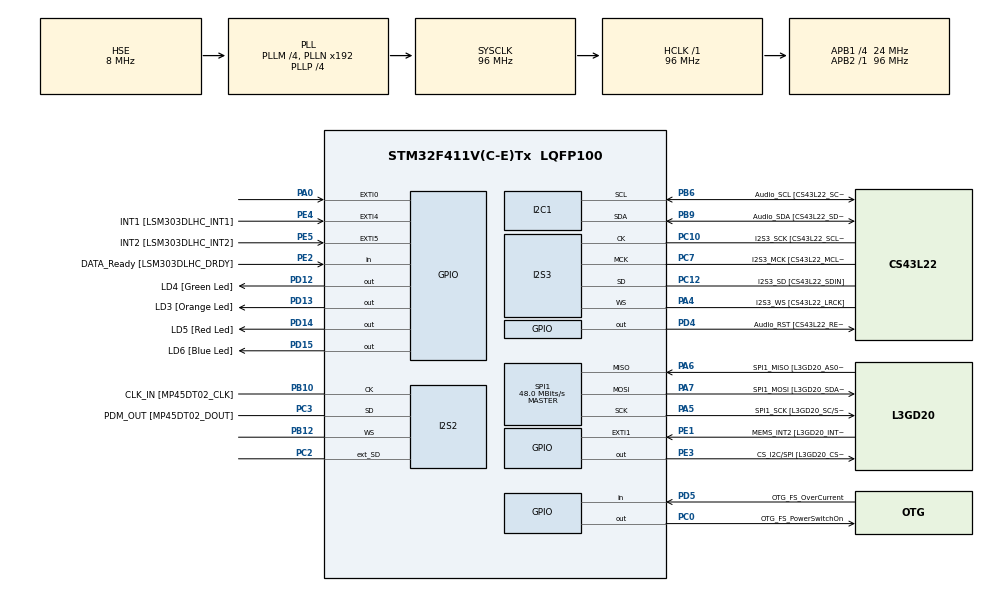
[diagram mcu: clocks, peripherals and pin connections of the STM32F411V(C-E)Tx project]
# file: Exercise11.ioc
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FREERTOS.BinarySemaphores01=CriticalResourceSemaphore,Dynamic,NULL
FREERTOS.Tasks01=GreenLEDTask,0,128,StartGreenLEDTask,Default,NULL,Dynamic,NULL,NULL;RedLEDTask,2,128,StartRedLEDTask,Default,NULL,Dynamic,NULL,NULL;OrangeLEDTask,1,128,StartOrangeLEDTask,Default,NULL,Dynamic,NULL,NULL
I2S2.AudioFreq=I2S_AUDIOFREQ_96K
I2S2.ErrorAudioFreq=0.15 %
I2S2.FullDuplexMode=I2S_FULLDUPLEXMODE_ENABLE
I2S2.Instance=SPI$Index
I2S2.RealAudioFreq=96.153 KHz
I2S2.VirtualMode=I2S_MODE_MASTER
I2S3.AudioFreq=I2S_AUDIOFREQ_96K
I2S3.ErrorAudioFreq=-6.99 %
I2S3.FullDuplexMode=I2S_FULLDUPLEXMODE_DISABLE
I2S3.Instance=SPI$Index
I2S3.RealAudioFreq=89.285 KHz
I2S3.VirtualMode=I2S_MODE_MASTER
Mcu.Family=STM32F4
Mcu.Name=STM32F411V(C-E)Tx
Mcu.Package=LQFP100
NVIC.PriorityGroup=NVIC_PRIORITYGROUP_4
NVIC.TIM1_UP_TIM10_IRQn=true\:0\:0\:false\:false\:true\:false\:false\:true
NVIC.TimeBase=TIM1_UP_TIM10_IRQn
NVIC.TimeBaseIP=TIM1
PA0-WKUP.GPIO_ModeDefaultEXTI=GPIO_MODE_EVT_RISING
PA0-WKUP.Signal=GPXTI0
PA10.GPIO_Label=OTG_FS_ID
PA10.Signal=USB_OTG_FS_ID
PA11.GPIO_Label=OTG_FS_DM
PA11.Signal=USB_OTG_FS_DM
PA12.GPIO_Label=OTG_FS_DP
PA12.Signal=USB_OTG_FS_DP
PA13.GPIO_Label=SWDIO
PA13.Mode=Serial_Wire
PA13.Signal=SYS_JTMS-SWDIO
PA14.GPIO_Label=SWCLK
PA14.Mode=Serial_Wire
PA14.Signal=SYS_JTCK-SWCLK
PA4.GPIO_Label=I2S3_WS [CS43L22_LRCK]
PA4.GPIO_Mode=GPIO_MODE_AF_PP
PA4.GPIO_PuPd=GPIO_NOPULL
PA4.GPIO_Speed=GPIO_SPEED_FREQ_LOW
PA4.Mode=Half_Duplex_Master
PA4.Signal=I2S3_WS
PA5.GPIO_Label=SPI1_SCK [L3GD20_SC/SPC]
PA5.Mode=Full_Duplex_Master
PA5.Signal=SPI1_SCK
PA6.GPIO_Label=SPI1_MISO [L3GD20_AS0/SDO]
PA6.Mode=Full_Duplex_Master
PA6.Signal=SPI1_MISO
PA7.GPIO_Label=SPI1_MOSI [L3GD20_SDA/SDI/SDO]
PA7.Mode=Full_Duplex_Master
PA7.Signal=SPI1_MOSI
PA9.GPIO_Label=VBUS_FS
PA9.Signal=USB_OTG_FS_VBUS
PB10.GPIO_Label=CLK_IN [MP45DT02_CLK]
PB10.Mode=Full_Duplex_Master
PB10.Signal=I2S2_CK
PB12.Mode=Full_Duplex_Master
PB12.Signal=I2S2_WS
PB3.GPIO_Label=SWO
PB3.Signal=SYS_JTDO-SWO
PB6.GPIO_Label=Audio_SCL [CS43L22_SCL]
PB6.GPIO_Mode=GPIO_MODE_AF_OD
PB6.GPIO_PuPd=GPIO_NOPULL
PB6.GPIO_Speed=GPIO_SPEED_FREQ_LOW
PB6.Mode=I2C
PB6.Signal=I2C1_SCL
PB9.GPIO_Label=Audio_SDA [CS43L22_SDA]
PB9.GPIO_Mode=GPIO_MODE_AF_OD
PB9.GPIO_PuPd=GPIO_NOPULL
PB9.GPIO_Speed=GPIO_SPEED_FREQ_LOW
PB9.Mode=I2C
PB9.Signal=I2C1_SDA
PC0.GPIO_Label=OTG_FS_PowerSwitchOn
PC0.PinState=GPIO_PIN_SET
PC0.Signal=GPIO_Output
PC10.GPIO_Label=I2S3_SCK [CS43L22_SCLK]
PC10.GPIO_Mode=GPIO_MODE_AF_PP
PC10.GPIO_PuPd=GPIO_NOPULL
PC10.GPIO_Speed=GPIO_SPEED_FREQ_LOW
PC10.Mode=Half_Duplex_Master
PC10.Signal=I2S3_CK
PC12.GPIO_Label=I2S3_SD [CS43L22_SDIN]
PC12.GPIO_Mode=GPIO_MODE_AF_PP
PC12.GPIO_PuPd=GPIO_NOPULL
PC12.GPIO_Speed=GPIO_SPEED_FREQ_LOW
PC12.Mode=Half_Duplex_Master
PC12.Signal=I2S3_SD
PC14-OSC32_IN.GPIO_Label=PC14-OSC32_IN
PC14-OSC32_IN.Mode=LSE-External-Oscillator
PC14-OSC32_IN.Signal=RCC_OSC32_IN
PC15-OSC32_OUT.GPIO_Label=PC15-OSC32_OUT
PC15-OSC32_OUT.Mode=LSE-External-Oscillator
PC15-OSC32_OUT.Signal=RCC_OSC32_OUT
PC2.Mode=Full_Duplex_Master
PC2.Signal=I2S2_ext_SD
PC3.GPIO_Label=PDM_OUT [MP45DT02_DOUT]
PC3.Mode=Full_Duplex_Master
PC3.Signal=I2S2_SD
PC7.GPIO_Label=I2S3_MCK [CS43L22_MCLK]
PC7.GPIO_Mode=GPIO_MODE_AF_PP
PC7.GPIO_PuPd=GPIO_NOPULL
PC7.GPIO_Speed=GPIO_SPEED_FREQ_LOW
PC7.Mode=Master_Clock_Activated
PC7.Signal=I2S3_MCK
PD12.GPIO_Label=LD4 [Green Led]
PD12.GPIO_PuPd=GPIO_NOPULL
PD12.GPIO_Speed=GPIO_SPEED_FREQ_LOW
PD12.Signal=GPIO_Output
PD13.GPIO_Label=LD3 [Orange Led]
PD13.GPIO_PuPd=GPIO_NOPULL
PD13.GPIO_Speed=GPIO_SPEED_FREQ_LOW
PD13.Signal=GPIO_Output
PD14.GPIO_Label=LD5 [Red Led]
PD14.GPIO_PuPd=GPIO_NOPULL
PD14.GPIO_Speed=GPIO_SPEED_FREQ_LOW
PD14.Signal=GPIO_Output
PD15.GPIO_Label=LD6 [Blue Led]
PD15.GPIO_PuPd=GPIO_NOPULL
PD15.GPIO_Speed=GPIO_SPEED_FREQ_LOW
PD15.Signal=GPIO_Output
PD4.GPIO_Label=Audio_RST [CS43L22_RESET]
PD4.Signal=GPIO_Output
PD5.GPIO_Label=OTG_FS_OverCurrent
PD5.Signal=GPIO_Input
PE1.GPIO_Label=MEMS_INT2 [L3GD20_INT2]
PE1.GPIO_ModeDefaultEXTI=GPIO_MODE_EVT_RISING
PE1.Signal=GPXTI1
PE2.GPIO_Label=DATA_Ready [LSM303DLHC_DRDY]
PE2.Signal=GPIO_Input
PE3.GPIO_Label=CS_I2C/SPI [L3GD20_CS_I2C/SPI]
PE3.Signal=GPIO_Output
PE4.GPIO_Label=INT1 [LSM303DLHC_INT1]
PE4.GPIO_ModeDefaultEXTI=GPIO_MODE_EVT_RISING
PE4.Signal=GPXTI4
PE5.GPIO_Label=INT2 [LSM303DLHC_INT2]
PE5.GPIO_ModeDefaultEXTI=GPIO_MODE_EVT_RISING
PE5.Signal=GPXTI5
PH0\ -\ OSC_IN.GPIO_Label=PH0-OSC_IN
PH0\ -\ OSC_IN.Mode=HSE-External-Oscillator
PH0\ -\ OSC_IN.Signal=RCC_OSC_IN
PH1\ -\ OSC_OUT.GPIO_Label=PH1-OSC_OUT
PH1\ -\ OSC_OUT.Mode=HSE-External-Oscillator
PH1\ -\ OSC_OUT.Signal=RCC_OSC_OUT
ProjectManager.HeapSize=0x200
ProjectManager.StackSize=0x400
ProjectManager.TargetToolchain=STM32CubeIDE
RCC.48MHZClocksFreq_Value=48000000
RCC.AHBFreq_Value=96000000
RCC.APB1CLKDivider=RCC_HCLK_DIV4
RCC.APB1Freq_Value=24000000
RCC.APB1TimFreq_Value=48000000
RCC.APB2Freq_Value=96000000
RCC.APB2TimFreq_Value=96000000
RCC.CortexFreq_Value=96000000
RCC.HCLKFreq_Value=96000000
RCC.HSE_VALUE=8000000
RCC.HSI_VALUE=16000000
RCC.PLLI2SM=5
RCC.PLLI2SN=200
RCC.PLLM=4
RCC.PLLP=RCC_PLLP_DIV4
RCC.PLLQ=8
RCC.PLLSourceVirtual=RCC_PLLSOURCE_HSE
RCC.SYSCLKFreq_VALUE=96000000
RCC.SYSCLKSource=RCC_SYSCLKSOURCE_PLLCLK
RCC.VCOOutputFreq_Value=384000000
SPI1.BaudRatePrescaler=SPI_BAUDRATEPRESCALER_2
SPI1.CalculateBaudRate=48.0 MBits/s
SPI1.Direction=SPI_DIRECTION_2LINES
SPI1.Mode=SPI_MODE_MASTER
SPI1.VirtualType=VM_MASTER
VP_FREERTOS_VS_CMSIS_V1.Mode=CMSIS_V1
VP_SYS_VS_tim1.Mode=TIM1
board=STM32F411E-DISCO

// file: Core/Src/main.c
/* USER CODE BEGIN Header */
/**
  ******************************************************************************
  * @file           : main.c
  * @brief          : Main program body
  ******************************************************************************
  * @attention
  *
  * <h2><center>&copy; Copyright (c) 2024 STMicroelectronics.
  * All rights reserved.</center></h2>
  *
  * This software component is licensed by ST under Ultimate Liberty license
  * SLA0044, the "License"; You may not use this file except in compliance with
  * the License. You may obtain a copy of the License at:
  *                             www.st.com/SLA0044
  *
  ******************************************************************************
  */
/* USER CODE END Header */

#include "main.h"
#include "cmsis_os.h"

I2C_HandleTypeDef hi2c1;

I2S_HandleTypeDef hi2s2;
I2S_HandleTypeDef hi2s3;

SPI_HandleTypeDef hspi1;

osThreadId GreenLEDTaskHandle;
osThreadId RedLEDTaskHandle;
osThreadId OrangeLEDTaskHandle;
osSemaphoreId CriticalResourceSemaphoreHandle;

void SystemClock_Config(void);
static void MX_GPIO_Init(void);
static void MX_I2C1_Init(void);
static void MX_I2S2_Init(void);
static void MX_I2S3_Init(void);
static void MX_SPI1_Init(void);
void StartGreenLEDTask(void const * argument);
void StartRedLEDTask(void const * argument);
void StartOrangeLEDTask(void const * argument);

int main(void)
{

  /* MCU Configuration--------------------------------------------------------*/

  /* Reset of all peripherals, Initializes the Flash interface and the Systick. */
  HAL_Init();

  /* Configure the system clock */
  SystemClock_Config();

  /* Initialize all configured peripherals */
  MX_GPIO_Init();
  MX_I2C1_Init();
  MX_I2S2_Init();
  MX_I2S3_Init();
  MX_SPI1_Init();

  /* Create the semaphores(s) */
  /* definition and creation of CriticalResourceSemaphore */
  osSemaphoreDef(CriticalResourceSemaphore);
  CriticalResourceSemaphoreHandle = osSemaphoreCreate(osSemaphore(CriticalResourceSemaphore), 1);

  /* Create the thread(s) */
  /* definition and creation of GreenLEDTask */
  osThreadDef(GreenLEDTask, StartGreenLEDTask, osPriorityNormal, 0, 128);
  GreenLEDTaskHandle = osThreadCreate(osThread(GreenLEDTask), NULL);

  /* definition and creation of RedLEDTask */
  osThreadDef(RedLEDTask, StartRedLEDTask, osPriorityHigh, 0, 128);
  RedLEDTaskHandle = osThreadCreate(osThread(RedLEDTask), NULL);

  /* definition and creation of OrangeLEDTask */
  osThreadDef(OrangeLEDTask, StartOrangeLEDTask, osPriorityAboveNormal, 0, 128);
  OrangeLEDTaskHandle = osThreadCreate(osThread(OrangeLEDTask), NULL);

  /* Start scheduler */
  osKernelStart();

  /* We should never get here as control is now taken by the scheduler */

  /* Infinite loop */
  while (1)
  {

  }
}

void SystemClock_Config(void)
{
  RCC_OscInitTypeDef RCC_OscInitStruct = {0};
  RCC_ClkInitTypeDef RCC_ClkInitStruct = {0};
  RCC_PeriphCLKInitTypeDef PeriphClkInitStruct = {0};

  /** Configure the main internal regulator output voltage
  */
  __HAL_RCC_PWR_CLK_ENABLE();
  __HAL_PWR_VOLTAGESCALING_CONFIG(PWR_REGULATOR_VOLTAGE_SCALE1);
  /** Initializes the CPU, AHB and APB busses clocks
  */
  RCC_OscInitStruct.OscillatorType = RCC_OSCILLATORTYPE_HSE;
  RCC_OscInitStruct.HSEState = RCC_HSE_ON;
  RCC_OscInitStruct.PLL.PLLState = RCC_PLL_ON;
  RCC_OscInitStruct.PLL.PLLSource = RCC_PLLSOURCE_HSE;
  RCC_OscInitStruct.PLL.PLLM = 4;
  RCC_OscInitStruct.PLL.PLLN = 192;
  RCC_OscInitStruct.PLL.PLLP = RCC_PLLP_DIV4;
  RCC_OscInitStruct.PLL.PLLQ = 8;
  if (HAL_RCC_OscConfig(&RCC_OscInitStruct) != HAL_OK)
  {
    Error_Handler();
  }
  /** Initializes the CPU, AHB and APB busses clocks
  */
  RCC_ClkInitStruct.ClockType = RCC_CLOCKTYPE_HCLK|RCC_CLOCKTYPE_SYSCLK
                              |RCC_CLOCKTYPE_PCLK1|RCC_CLOCKTYPE_PCLK2;
  RCC_ClkInitStruct.SYSCLKSource = RCC_SYSCLKSOURCE_PLLCLK;
  RCC_ClkInitStruct.AHBCLKDivider = RCC_SYSCLK_DIV1;
  RCC_ClkInitStruct.APB1CLKDivider = RCC_HCLK_DIV4;
  RCC_ClkInitStruct.APB2CLKDivider = RCC_HCLK_DIV1;

  if (HAL_RCC_ClockConfig(&RCC_ClkInitStruct, FLASH_LATENCY_3) != HAL_OK)
  {
    Error_Handler();
  }
  PeriphClkInitStruct.PeriphClockSelection = RCC_PERIPHCLK_I2S;
  PeriphClkInitStruct.PLLI2S.PLLI2SN = 200;
  PeriphClkInitStruct.PLLI2S.PLLI2SM = 5;
  PeriphClkInitStruct.PLLI2S.PLLI2SR = 2;
  if (HAL_RCCEx_PeriphCLKConfig(&PeriphClkInitStruct) != HAL_OK)
  {
    Error_Handler();
  }
}

static void MX_I2C1_Init(void)
{

  hi2c1.Instance = I2C1;
  hi2c1.Init.ClockSpeed = 100000;
  hi2c1.Init.DutyCycle = I2C_DUTYCYCLE_2;
  hi2c1.Init.OwnAddress1 = 0;
  hi2c1.Init.AddressingMode = I2C_ADDRESSINGMODE_7BIT;
  hi2c1.Init.DualAddressMode = I2C_DUALADDRESS_DISABLE;
  hi2c1.Init.OwnAddress2 = 0;
  hi2c1.Init.GeneralCallMode = I2C_GENERALCALL_DISABLE;
  hi2c1.Init.NoStretchMode = I2C_NOSTRETCH_DISABLE;
  if (HAL_I2C_Init(&hi2c1) != HAL_OK)
  {
    Error_Handler();
  }

}

static void MX_I2S2_Init(void)
{

  hi2s2.Instance = SPI2;
  hi2s2.Init.Mode = I2S_MODE_MASTER_TX;
  hi2s2.Init.Standard = I2S_STANDARD_PHILIPS;
  hi2s2.Init.DataFormat = I2S_DATAFORMAT_16B;
  hi2s2.Init.MCLKOutput = I2S_MCLKOUTPUT_DISABLE;
  hi2s2.Init.AudioFreq = I2S_AUDIOFREQ_96K;
  hi2s2.Init.CPOL = I2S_CPOL_LOW;
  hi2s2.Init.ClockSource = I2S_CLOCK_PLL;
  hi2s2.Init.FullDuplexMode = I2S_FULLDUPLEXMODE_ENABLE;
  if (HAL_I2S_Init(&hi2s2) != HAL_OK)
  {
    Error_Handler();
  }

}

static void MX_I2S3_Init(void)
{

  hi2s3.Instance = SPI3;
  hi2s3.Init.Mode = I2S_MODE_MASTER_TX;
  hi2s3.Init.Standard = I2S_STANDARD_PHILIPS;
  hi2s3.Init.DataFormat = I2S_DATAFORMAT_16B;
  hi2s3.Init.MCLKOutput = I2S_MCLKOUTPUT_ENABLE;
  hi2s3.Init.AudioFreq = I2S_AUDIOFREQ_96K;
  hi2s3.Init.CPOL = I2S_CPOL_LOW;
  hi2s3.Init.ClockSource = I2S_CLOCK_PLL;
  hi2s3.Init.FullDuplexMode = I2S_FULLDUPLEXMODE_DISABLE;
  if (HAL_I2S_Init(&hi2s3) != HAL_OK)
  {
    Error_Handler();
  }

}

static void MX_SPI1_Init(void)
{

  /* SPI1 parameter configuration*/
  hspi1.Instance = SPI1;
  hspi1.Init.Mode = SPI_MODE_MASTER;
  hspi1.Init.Direction = SPI_DIRECTION_2LINES;
  hspi1.Init.DataSize = SPI_DATASIZE_8BIT;
  hspi1.Init.CLKPolarity = SPI_POLARITY_LOW;
  hspi1.Init.CLKPhase = SPI_PHASE_1EDGE;
  hspi1.Init.NSS = SPI_NSS_SOFT;
  hspi1.Init.BaudRatePrescaler = SPI_BAUDRATEPRESCALER_2;
  hspi1.Init.FirstBit = SPI_FIRSTBIT_MSB;
  hspi1.Init.TIMode = SPI_TIMODE_DISABLE;
  hspi1.Init.CRCCalculation = SPI_CRCCALCULATION_DISABLE;
  hspi1.Init.CRCPolynomial = 10;
  if (HAL_SPI_Init(&hspi1) != HAL_OK)
  {
    Error_Handler();
  }

}

static void MX_GPIO_Init(void)
{
  GPIO_InitTypeDef GPIO_InitStruct = {0};

  /* GPIO Ports Clock Enable */
  __HAL_RCC_GPIOE_CLK_ENABLE();
  __HAL_RCC_GPIOC_CLK_ENABLE();
  __HAL_RCC_GPIOH_CLK_ENABLE();
  __HAL_RCC_GPIOA_CLK_ENABLE();
  __HAL_RCC_GPIOB_CLK_ENABLE();
  __HAL_RCC_GPIOD_CLK_ENABLE();

  /*Configure GPIO pin Output Level */
  HAL_GPIO_WritePin(CS_I2C_SPI_GPIO_Port, CS_I2C_SPI_Pin, GPIO_PIN_RESET);

  /*Configure GPIO pin Output Level */
  HAL_GPIO_WritePin(OTG_FS_PowerSwitchOn_GPIO_Port, OTG_FS_PowerSwitchOn_Pin, GPIO_PIN_SET);

  /*Configure GPIO pin Output Level */
  HAL_GPIO_WritePin(GPIOD, LD4_Pin|LD3_Pin|LD5_Pin|LD6_Pin
                          |Audio_RST_Pin, GPIO_PIN_RESET);

  /*Configure GPIO pin : DATA_Ready_Pin */
  GPIO_InitStruct.Pin = DATA_Ready_Pin;
  GPIO_InitStruct.Mode = GPIO_MODE_INPUT;
  GPIO_InitStruct.Pull = GPIO_NOPULL;
  HAL_GPIO_Init(DATA_Ready_GPIO_Port, &GPIO_InitStruct);

  /*Configure GPIO pin : CS_I2C_SPI_Pin */
  GPIO_InitStruct.Pin = CS_I2C_SPI_Pin;
  GPIO_InitStruct.Mode = GPIO_MODE_OUTPUT_PP;
  GPIO_InitStruct.Pull = GPIO_NOPULL;
  GPIO_InitStruct.Speed = GPIO_SPEED_FREQ_LOW;
  HAL_GPIO_Init(CS_I2C_SPI_GPIO_Port, &GPIO_InitStruct);

  /*Configure GPIO pins : INT1_Pin INT2_Pin MEMS_INT2_Pin */
  GPIO_InitStruct.Pin = INT1_Pin|INT2_Pin|MEMS_INT2_Pin;
  GPIO_InitStruct.Mode = GPIO_MODE_EVT_RISING;
  GPIO_InitStruct.Pull = GPIO_NOPULL;
  HAL_GPIO_Init(GPIOE, &GPIO_InitStruct);

  /*Configure GPIO pin : OTG_FS_PowerSwitchOn_Pin */
  GPIO_InitStruct.Pin = OTG_FS_PowerSwitchOn_Pin;
  GPIO_InitStruct.Mode = GPIO_MODE_OUTPUT_PP;
  GPIO_InitStruct.Pull = GPIO_NOPULL;
  GPIO_InitStruct.Speed = GPIO_SPEED_FREQ_LOW;
  HAL_GPIO_Init(OTG_FS_PowerSwitchOn_GPIO_Port, &GPIO_InitStruct);

  /*Configure GPIO pin : PA0 */
  GPIO_InitStruct.Pin = GPIO_PIN_0;
  GPIO_InitStruct.Mode = GPIO_MODE_EVT_RISING;
  GPIO_InitStruct.Pull = GPIO_NOPULL;
  HAL_GPIO_Init(GPIOA, &GPIO_InitStruct);

  /*Configure GPIO pins : LD4_Pin LD3_Pin LD5_Pin LD6_Pin
                           Audio_RST_Pin */
  GPIO_InitStruct.Pin = LD4_Pin|LD3_Pin|LD5_Pin|LD6_Pin
                          |Audio_RST_Pin;
  GPIO_InitStruct.Mode = GPIO_MODE_OUTPUT_PP;
  GPIO_InitStruct.Pull = GPIO_NOPULL;
  GPIO_InitStruct.Speed = GPIO_SPEED_FREQ_LOW;
  HAL_GPIO_Init(GPIOD, &GPIO_InitStruct);

  /*Configure GPIO pin : VBUS_FS_Pin */
  GPIO_InitStruct.Pin = VBUS_FS_Pin;
  GPIO_InitStruct.Mode = GPIO_MODE_INPUT;
  GPIO_InitStruct.Pull = GPIO_NOPULL;
  HAL_GPIO_Init(VBUS_FS_GPIO_Port, &GPIO_InitStruct);

  /*Configure GPIO pins : OTG_FS_ID_Pin OTG_FS_DM_Pin OTG_FS_DP_Pin */
  GPIO_InitStruct.Pin = OTG_FS_ID_Pin|OTG_FS_DM_Pin|OTG_FS_DP_Pin;
  GPIO_InitStruct.Mode = GPIO_MODE_AF_PP;
  GPIO_InitStruct.Pull = GPIO_NOPULL;
  GPIO_InitStruct.Speed = GPIO_SPEED_FREQ_VERY_HIGH;
  GPIO_InitStruct.Alternate = GPIO_AF10_OTG_FS;
  HAL_GPIO_Init(GPIOA, &GPIO_InitStruct);

  /*Configure GPIO pin : OTG_FS_OverCurrent_Pin */
  GPIO_InitStruct.Pin = OTG_FS_OverCurrent_Pin;
  GPIO_InitStruct.Mode = GPIO_MODE_INPUT;
  GPIO_InitStruct.Pull = GPIO_NOPULL;
  HAL_GPIO_Init(OTG_FS_OverCurrent_GPIO_Port, &GPIO_InitStruct);

}

/* USER CODE BEGIN 4 */
void AccessSharedData()
{
	osSemaphoreWait(CriticalResourceSemaphoreHandle, osWaitForever);
	for(int i = 0; i < 20; i++)
	{
		HAL_GPIO_TogglePin(GPIOD, GPIO_PIN_15);
		HAL_Delay(100);
	}
	osSemaphoreRelease(CriticalResourceSemaphoreHandle);
	return;
}

/* USER CODE END 4 */

void StartGreenLEDTask(void const * argument)
{
  /* USER CODE BEGIN 5 */
  /* Infinite loop */
  for(;;)
  {
    AccessSharedData();
    for(int i = 0; i < 40; ++i)
    {
    	HAL_GPIO_TogglePin(GPIOD, GPIO_PIN_12);
    	HAL_Delay(100);
    }
    vTaskSuspend(NULL);
  }
  /* USER CODE END 5 */
}

void StartRedLEDTask(void const * argument)
{
  /* USER CODE BEGIN StartRedLEDTask */
  /* Infinite loop */
  for(;;)
  {
	osDelay(1000);
	AccessSharedData();
	for(int i = 0; i < 40; i++)
	{
		HAL_GPIO_TogglePin(GPIOD, GPIO_PIN_14);
		HAL_Delay(100);
	}
   vTaskSuspend(NULL);
  }
  /* USER CODE END StartRedLEDTask */
}

void StartOrangeLEDTask(void const * argument)
{
  /* USER CODE BEGIN StartOrangeLEDTask */
  /* Infinite loop */
  for(;;)
  {
  osDelay(1000);
  for(int i = 0; i < 40; ++i)
  {
    HAL_GPIO_TogglePin(GPIOD, GPIO_PIN_13);
    HAL_Delay(100);
  }
  vTaskSuspend(NULL);
  }
  /* USER CODE END StartOrangeLEDTask */
}

void HAL_TIM_PeriodElapsedCallback(TIM_HandleTypeDef *htim)
{
  if (htim->Instance == TIM1) {
    HAL_IncTick();
  }
}

void Error_Handler(void)
{
}

/************************ (C) COPYRIGHT STMicroelectronics *****END OF FILE****/
